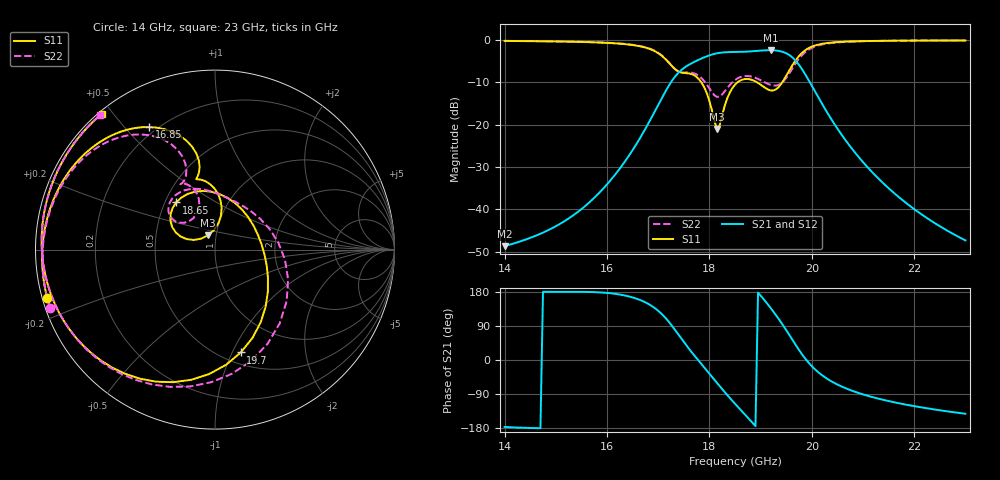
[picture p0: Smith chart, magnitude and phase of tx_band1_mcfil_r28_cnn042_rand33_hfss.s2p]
! Touchstone file exported from HFSS 3D Layout Design 2026.1.0
!  File:  D:/Work/SIM/ADS_AUTO_SIM/projects/RFSOC_RF/TX_Fillter.aedt
!  Generated:  02:17:32 AM Aug 31, 2026
!  Design:  TX_BAND1_MCFIL_R28_CNN042
!  Project:  TX_Fillter
# GHz S MA R 50.000000
! Terminal data exported
! Port[1] = Port1
! Port[2] = Port2
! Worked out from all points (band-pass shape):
!   181 points, 14 GHz to 23 GHz, reference 50 ohm
!   highest |S21| = -2.44 dB at 19.2 GHz (marker M1); lowest = -48.7 dB at 14 GHz (marker M2)
!   |S21| within 3 dB of the highest: 17.67 GHz to 19.72 GHz (2.055 GHz wide, 11 % of centre)
!   lowest |S11| = -21.0 dB at 18.15 GHz (marker M3), VSWR 1.19, Z = 45.7 + j7.36 ohm
!   |S11| at or under -10 dB: 17.84 GHz to 18.55 GHz (710.6 MHz wide, 3.91 % of centre); 18.93 GHz to 19.42 GHz (495.3 MHz wide, 2.58 % of centre)
!   |S22| runs from -13.5 to -0.1 dB; largest |S21 - S12| = 1.5e-14
!   S11 on the Smith chart (normalised r, x): 14 GHz: 0.01, -0.14; 16.85 GHz: 0.17, +0.58; 18.65 GHz: 0.57, +0.34; 19.7 GHz: 0.61, -1.08; 23 GHz: 0.01, +0.47
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14  0.9732 -163.9  0.003664 -176.6  0.003664 -176.6  0.9742 -160.4
15.5  0.9462 165.8  0.01003 179.8  0.01003 179.8  0.9487 170.1
16.25  0.9026 144.4  0.03023 172.8  0.03023 172.8  0.9073 149.7
16.85  0.7755 118.3  0.115 144.6  0.115 144.6  0.7833 125.1
17  0.6975 109.9  0.1706 129.9  0.1706 129.9  0.7055 117.3
17.25  0.5042 100.3  0.3163 93.5  0.3163 93.5  0.5087 109.0
17.5  0.407 105.0  0.4649 47.5  0.4649 47.5  0.4117 117.4
17.85  0.3109 86.9  0.6049 -11.6  0.6049 -11.6  0.3513 109.0
18.15  0.0888 115.9  0.6952 -60.7  0.6952 -60.7  0.2121 125.4
18.3  0.1671 159.7  0.7141 -84.9  0.7141 -84.9  0.2475 142.9
18.5  0.2957 147.1  0.7199 -115.5  0.7199 -115.5  0.3358 140.5
18.65  0.3404 129.5  0.7231 -137.4  0.7231 -137.4  0.3707 130.2
18.95  0.3106 85.4  0.7437 177.9  0.7437 177.9  0.3462 103.2
19.2  0.2527 32.4  0.7555 136.6  0.7555 136.6  0.2936 74.0
19.45  0.3345 -28.1  0.7161 89.3  0.7161 89.3  0.3256 20.3
19.7  0.5908 -75.9  0.5543 36.7  0.5543 36.7  0.5467 -48.7
19.85  0.7374 -100.3  0.4123 7.6  0.4123 7.6  0.6989 -82.4
20  0.8326 -120.3  0.288 -16.3  0.288 -16.3  0.8048 -108.1
20.25  0.9098 -144.5  0.1562 -45.0  0.1562 -45.0  0.8953 -137.5
20.55  0.9464 -163.9  0.08096 -68.0  0.08096 -68.0  0.9397 -160.0
21.5  0.9774 161.1  0.01772 -108.4  0.01772 -108.4  0.9768 162.2
23  0.9851 129.9  0.004289 -141.9  0.004289 -141.9  0.9852 130.4
